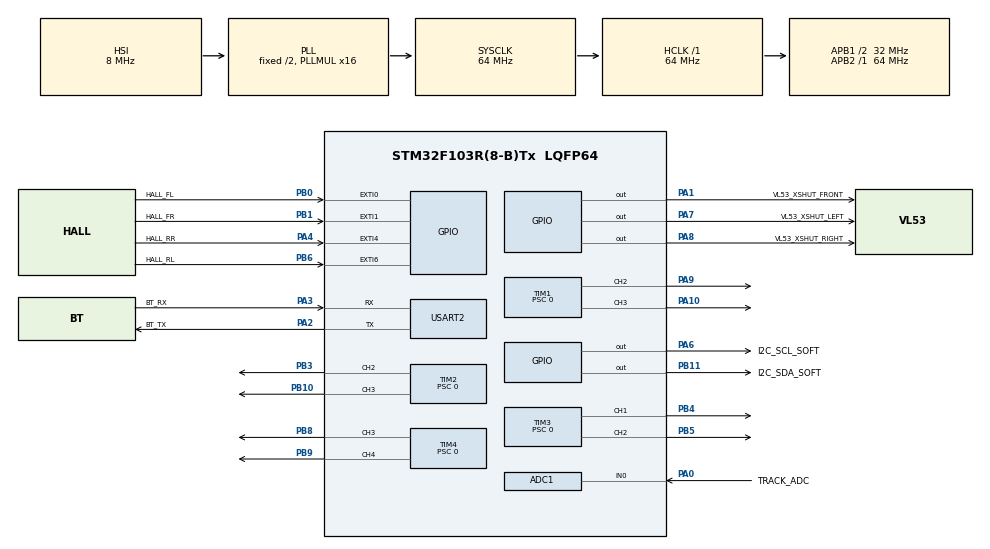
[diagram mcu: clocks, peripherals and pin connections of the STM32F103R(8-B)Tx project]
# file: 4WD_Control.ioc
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ADC1.Channel-0\#ChannelRegularConversion=ADC_CHANNEL_0
ADC1.ContinuousConvMode=DISABLE
ADC1.DataAlign=ADC_DATAALIGN_RIGHT
ADC1.NbrOfConversionFlag=1
ADC1.Rank-0\#ChannelRegularConversion=1
ADC1.SamplingTime-0\#ChannelRegularConversion=ADC_SAMPLETIME_239CYCLES_5
ADC1.master=1
Dma.ADC1.1.Direction=DMA_PERIPH_TO_MEMORY
Dma.ADC1.1.Instance=DMA1_Channel1
Dma.ADC1.1.MemDataAlignment=DMA_MDATAALIGN_HALFWORD
Dma.ADC1.1.MemInc=DMA_MINC_ENABLE
Dma.ADC1.1.Mode=DMA_CIRCULAR
Dma.ADC1.1.PeriphDataAlignment=DMA_PDATAALIGN_HALFWORD
Dma.ADC1.1.PeriphInc=DMA_PINC_DISABLE
Dma.ADC1.1.Priority=DMA_PRIORITY_LOW
Dma.Request0=USART2_RX
Dma.Request1=ADC1
Dma.USART2_RX.0.Direction=DMA_PERIPH_TO_MEMORY
Dma.USART2_RX.0.Instance=DMA1_Channel6
Dma.USART2_RX.0.MemDataAlignment=DMA_MDATAALIGN_BYTE
Dma.USART2_RX.0.MemInc=DMA_MINC_ENABLE
Dma.USART2_RX.0.Mode=DMA_NORMAL
Dma.USART2_RX.0.PeriphDataAlignment=DMA_PDATAALIGN_BYTE
Dma.USART2_RX.0.PeriphInc=DMA_PINC_DISABLE
Dma.USART2_RX.0.Priority=DMA_PRIORITY_LOW
Mcu.Family=STM32F1
Mcu.Name=STM32F103R(8-B)Tx
Mcu.Package=LQFP64
NVIC.DMA1_Channel1_IRQn=true\:0\:0\:false\:false\:true\:false\:true\:true
NVIC.DMA1_Channel6_IRQn=true\:2\:0\:false\:false\:true\:false\:true\:true
NVIC.EXTI0_IRQn=true\:1\:0\:true\:false\:true\:true\:true\:true
NVIC.EXTI1_IRQn=true\:1\:0\:true\:false\:true\:true\:true\:true
NVIC.EXTI4_IRQn=true\:1\:0\:true\:false\:true\:true\:true\:true
NVIC.EXTI9_5_IRQn=true\:1\:0\:true\:false\:true\:true\:true\:true
NVIC.PriorityGroup=NVIC_PRIORITYGROUP_4
PA0-WKUP.GPIO_Label=TRACK_ADC
PA0-WKUP.Signal=ADCx_IN0
PA1.GPIO_Label=VL53_XSHUT_FRONT
PA1.GPIO_ModeDefaultOutputPP=GPIO_MODE_OUTPUT_PP
PA1.Signal=GPIO_Output
PA10.Signal=S_TIM1_CH3
PA13.GPIO_Label=TMS
PA13.Mode=Serial_Wire
PA13.Signal=SYS_JTMS-SWDIO
PA14.GPIO_Label=TCK
PA14.Mode=Serial_Wire
PA14.Signal=SYS_JTCK-SWCLK
PA2.GPIO_Label=BT_TX
PA2.GPIO_Mode=GPIO_MODE_AF_PP
PA2.GPIO_PuPd=GPIO_NOPULL
PA2.GPIO_Speed=GPIO_SPEED_FREQ_LOW
PA2.Mode=Asynchronous
PA2.Signal=USART2_TX
PA3.GPIO_Label=BT_RX
PA3.GPIO_Mode=GPIO_MODE_AF_PP
PA3.GPIO_PuPd=GPIO_NOPULL
PA3.GPIO_Speed=GPIO_SPEED_FREQ_LOW
PA3.Mode=Asynchronous
PA3.Signal=USART2_RX
PA4.GPIO_Label=HALL_RR
PA4.GPIO_ModeDefaultEXTI=GPIO_MODE_IT_RISING
PA4.GPIO_PuPd=GPIO_PULLUP
PA4.Signal=GPXTI4
PA6.GPIO_Label=I2C_SCL_SOFT
PA6.GPIO_ModeDefaultOutputPP=GPIO_MODE_OUTPUT_PP
PA6.Signal=GPIO_Output
PA7.GPIO_Label=VL53_XSHUT_LEFT
PA7.GPIO_ModeDefaultOutputPP=GPIO_MODE_OUTPUT_PP
PA7.Signal=GPIO_Output
PA8.GPIO_Label=VL53_XSHUT_RIGHT
PA8.GPIO_ModeDefaultOutputPP=GPIO_MODE_OUTPUT_PP
PA8.Signal=GPIO_Output
PA9.Signal=S_TIM1_CH2
PB0.GPIO_Label=HALL_FL
PB0.GPIO_ModeDefaultEXTI=GPIO_MODE_IT_RISING
PB0.GPIO_PuPd=GPIO_PULLUP
PB0.Signal=GPXTI0
PB1.GPIO_Label=HALL_FR
PB1.GPIO_ModeDefaultEXTI=GPIO_MODE_IT_RISING
PB1.GPIO_PuPd=GPIO_PULLUP
PB1.Signal=GPXTI1
PB10.Signal=S_TIM2_CH3
PB11.GPIO_Label=I2C_SDA_SOFT
PB11.GPIO_ModeDefaultOutputPP=GPIO_MODE_OUTPUT_PP
PB11.Signal=GPIO_Output
PB6.GPIO_Label=HALL_RL
PB6.GPIO_ModeDefaultEXTI=GPIO_MODE_IT_RISING
PB6.GPIO_PuPd=GPIO_PULLUP
PB6.Signal=GPXTI6
PB3.Signal=S_TIM2_CH2
PB4.Signal=S_TIM3_CH1
PB5.Signal=S_TIM3_CH2
PB8.Signal=S_TIM4_CH3
PB9.Signal=S_TIM4_CH4
ProjectManager.HeapSize=0x200
ProjectManager.StackSize=0x400
ProjectManager.TargetToolchain=CMake
RCC.ADCPresc=RCC_ADCPCLK2_DIV6
RCC.AHBFreq_Value=64000000
RCC.APB1CLKDivider=RCC_HCLK_DIV2
RCC.APB1Freq_Value=32000000
RCC.APB1TimFreq_Value=64000000
RCC.APB2Freq_Value=64000000
RCC.APB2TimFreq_Value=64000000
RCC.HCLKFreq_Value=64000000
RCC.HSE_VALUE=8000000
RCC.HSE_VALUE_FREQ=8000000
RCC.PLLMUL=RCC_PLL_MUL16
RCC.SYSCLKFreq_VALUE=64000000
RCC.SYSCLKSource=RCC_SYSCLKSOURCE_PLLCLK
RCC.USBFreq_Value=64000000
SH.ADCx_IN0.0=ADC1_IN0,IN0
SH.S_TIM1_CH2.0=TIM1_CH2,PWM Generation2 CH2
SH.S_TIM1_CH3.0=TIM1_CH3,PWM Generation3 CH3
SH.S_TIM2_CH2.0=TIM2_CH2,PWM Generation2 CH2
SH.S_TIM2_CH3.0=TIM2_CH3,PWM Generation3 CH3
SH.S_TIM3_CH1.0=TIM3_CH1,PWM Generation1 CH1
SH.S_TIM3_CH2.0=TIM3_CH2,PWM Generation2 CH2
SH.S_TIM4_CH3.0=TIM4_CH3,PWM Generation3 CH3
SH.S_TIM4_CH4.0=TIM4_CH4,PWM Generation4 CH4
TIM1.Channel-PWM\ Generation2\ CH2=TIM_CHANNEL_2
TIM1.Channel-PWM\ Generation3\ CH3=TIM_CHANNEL_3
TIM1.Period=3199
TIM1.Prescaler=0
TIM1.Pulse-PWM\ Generation2\ CH2=0
TIM1.Pulse-PWM\ Generation3\ CH3=0
TIM2.Channel-PWM\ Generation2\ CH2=TIM_CHANNEL_2
TIM2.Channel-PWM\ Generation3\ CH3=TIM_CHANNEL_3
TIM2.Period=3199
TIM2.Prescaler=0
TIM2.Pulse-PWM\ Generation2\ CH2=0
TIM2.Pulse-PWM\ Generation3\ CH3=0
TIM3.Channel-PWM\ Generation1\ CH1=TIM_CHANNEL_1
TIM3.Channel-PWM\ Generation2\ CH2=TIM_CHANNEL_2
TIM3.Period=3199
TIM3.Prescaler=0
TIM3.Pulse-PWM\ Generation1\ CH1=0
TIM3.Pulse-PWM\ Generation2\ CH2=0
TIM4.Channel-PWM\ Generation3\ CH3=TIM_CHANNEL_3
TIM4.Channel-PWM\ Generation4\ CH4=TIM_CHANNEL_4
TIM4.Period=3199
TIM4.Prescaler=0
TIM4.Pulse-PWM\ Generation3\ CH3=0
TIM4.Pulse-PWM\ Generation4\ CH4=0
USART2.VirtualMode=VM_ASYNC
board=custom

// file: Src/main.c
/* USER CODE BEGIN Header */
/**
  ******************************************************************************
  * @file           : main.c
  * @brief          : Main program body
  ******************************************************************************
  * @attention
  *
  * Copyright (c) 2026 STMicroelectronics.
  * All rights reserved.
  *
  * This software is licensed under terms that can be found in the LICENSE file
  * in the root directory of this software component.
  * If no LICENSE file comes with this software, it is provided AS-IS.
  *
  ******************************************************************************
  */
/* USER CODE END Header */
#include "main.h"

/* USER CODE BEGIN Includes */
#include "motor.h"
#include "encoder.h"
#include "fsm.h"
#include "hc06.h"
#include "lcd.h"
#include "mpu6050.h"
#include "soft_i2c.h"
#include "kalman.h"
#include "line_sensor.h"
#include "paramstore.h"
#include "pid.h"
#include "vl53l1x.h"

#include <math.h>
#include <stdio.h>

#define STAT_GYRO_THRESH  1.0f
#define STAT_WINDOW       200U
#define SPEED_PERIOD_MS   10U
#define TOF_PERIOD_MS     50U
#define STREAM_PERIOD_MS  50U
#define LCD_PERIOD_MS     200U
#define MOTOR_TEST_ON_BOOT 0U
#define MOTOR_TEST_DUTY   2000
#define MOTOR_TEST_MS     1000U
#define MOTOR_TEST_GAP_MS 500U
#define MOTOR_SWEEP_ON_BOOT 0U
#define MOTOR_SWEEP_MIN_DUTY 800
#define MOTOR_SWEEP_MAX_DUTY 3199
#define MOTOR_SWEEP_STEP  200
#define MOTOR_SWEEP_HOLD_MS 1500U
#define MOTOR_SWEEP_GAP_MS 500U
#define SPEED_DUTY_MAX    3199.0f
#define SPEED_TRIM_MAX_DUTY 800.0f
/* PLACEHOLDER speed-PID gains; USER must tune to hardware. */
#define SPEED_KP          5.0f
#define SPEED_KI          0.0f
#define SPEED_KD          0.0f

#if (MOTOR_TEST_ON_BOOT != 0U) && (MOTOR_SWEEP_ON_BOOT != 0U)
#error "MOTOR_TEST_ON_BOOT and MOTOR_SWEEP_ON_BOOT are mutually exclusive."
#endif

/* USER CODE END Includes */

ADC_HandleTypeDef hadc1;
DMA_HandleTypeDef hdma_adc1;

TIM_HandleTypeDef htim1;
TIM_HandleTypeDef htim2;
TIM_HandleTypeDef htim3;
TIM_HandleTypeDef htim4;

UART_HandleTypeDef huart2;
DMA_HandleTypeDef hdma_usart2_rx;

/* USER CODE BEGIN PV */
volatile uint8_t g_param_save_request = 0U;
static PID pid_speed[MOTOR_COUNT];
/* duty/RPM feedforward coefficients measured via MOTOR_SWEEP_ON_BOOT (order: LF, RF, LR, RR). */
static const float speed_ff_gain[MOTOR_COUNT] = {20.21f, 16.41f, 14.58f, 15.00f};
static const float speed_ff_offset[MOTOR_COUNT] = {988.10f, 1308.95f, 1393.90f, 1353.18f};
/* USER CODE END PV */

void SystemClock_Config(void);
static void MX_GPIO_Init(void);
static void MX_DMA_Init(void);
static void MX_ADC1_Init(void);
static void MX_USART2_UART_Init(void);
static void MX_TIM1_Init(void);
static void MX_TIM2_Init(void);
static void MX_TIM3_Init(void);
static void MX_TIM4_Init(void);
/* USER CODE BEGIN PFP */
static uint8_t Hall_ReadLevel(MotorId wheel);
static void MotorTest_Run(void);
static void MotorSweep_Run(void);
static const char *MotorTest_Name(MotorId wheel);
static int16_t SpeedFF_Duty(MotorId wheel, float setpoint_rpm);

/* USER CODE END PFP */

int main(void)
{

  /* MCU Configuration--------------------------------------------------------*/

  /* Reset of all peripherals, Initializes the Flash interface and the Systick. */
  HAL_Init();

  /* Configure the system clock */
  SystemClock_Config();

  /* Initialize all configured peripherals */
  MX_GPIO_Init();
  MX_DMA_Init();
  MX_ADC1_Init();
  MX_USART2_UART_Init();
  MX_TIM1_Init();
  MX_TIM2_Init();
  MX_TIM3_Init();
  MX_TIM4_Init();
  /* USER CODE BEGIN 2 */
  uint32_t last_tick;
  uint32_t last_speed_tick;
  uint32_t last_tof_tick;
  uint32_t last_stream_tick;
  uint32_t last_lcd_tick;
  uint32_t stat_count;
  float stat_sum;
  float stat_sumsq;
  float stored_r;
  float stored_bias;
  float yaw;
  float line_error;
  uint8_t line_ok;
  uint8_t mpu_ok;
  uint8_t tof_ok;

  Motor_Init();
  Encoder_Init();
  FSM_Init();
  HC06_Init();
  SoftI2C_Init();
  tof_ok = (TOF_Init_All() == 0U) ? 1U : 0U;
  if (tof_ok != 0U)
  {
    HAL_UART_Transmit(&huart2, (uint8_t *)"TOF OK\r\n", 8U, HAL_MAX_DELAY);
  }
  else
  {
    HAL_UART_Transmit(&huart2, (uint8_t *)"TOF FAIL\r\n", 10U, HAL_MAX_DELAY);
  }
  line_ok = (LineSensor_Init((const LineSensorConfig *)0) == HAL_OK) ? 1U : 0U;

  if (MPU6050_Init() == 0U)
  {
    mpu_ok = 1U;
    HAL_UART_Transmit(&huart2, (uint8_t *)"MPU OK\r\n", 8U, HAL_MAX_DELAY);
  }
  else
  {
    mpu_ok = 0U;
    HAL_UART_Transmit(&huart2, (uint8_t *)"MPU FAIL\r\n", 10U, HAL_MAX_DELAY);
  }

  Kalman_Init();
  yaw = 0.0f;
  line_error = 0.0f;
  if (ParamStore_Load(&stored_r, &stored_bias) != 0U)
  {
    Kalman_SetR(stored_r);
    Kalman_SetBias(stored_bias);
    HAL_UART_Transmit(&huart2, (uint8_t *)"PARAM LOADED\r\n", 14U, HAL_MAX_DELAY);
  }
  else
  {
    HAL_UART_Transmit(&huart2, (uint8_t *)"PARAM DEFAULT\r\n", 15U, HAL_MAX_DELAY);
  }

  for (MotorId w = MOTOR_LF; w < MOTOR_COUNT; w++)
  {
    PID_Init(&pid_speed[w], SPEED_KP, SPEED_KI, SPEED_KD,
             -SPEED_TRIM_MAX_DUTY, SPEED_TRIM_MAX_DUTY);
  }

  stat_count = 0U;
  stat_sum = 0.0f;
  stat_sumsq = 0.0f;
  LCD_Init();
  LCD_Update(FSM_GetStateName(), yaw, mpu_ok);
  last_tick = HAL_GetTick();
  last_speed_tick = last_tick;
  last_tof_tick = last_tick;
  last_stream_tick = last_tick;
  last_lcd_tick = last_tick;
  if (MOTOR_SWEEP_ON_BOOT != 0U)
  {
    MotorSweep_Run();
  }
  else if (MOTOR_TEST_ON_BOOT != 0U)
  {
    MotorTest_Run();
  }
  else
  {
    Motor_StopAll();
  }

  /* USER CODE END 2 */

  /* Infinite loop */
  while (1)
  {

    /* USER CODE BEGIN 3 */
    uint32_t now;
    float dt;
    float omega_dps = 0.0f;
    float accel_angle;
    uint8_t sample_ok;

    HC06_Process();

    if (g_param_save_request != 0U)
    {
      uint8_t save_ok;

      g_param_save_request = 0U;
      save_ok = ParamStore_Save(Kalman_GetR(), Kalman_GetBias());
      if (save_ok != 0U)
      {
        HAL_UART_Transmit(&huart2, (uint8_t *)"SAVED\r\n", 7U, HAL_MAX_DELAY);
      }
      else
      {
        HAL_UART_Transmit(&huart2, (uint8_t *)"SAVE_FAIL\r\n", 11U, HAL_MAX_DELAY);
      }
    }

    now = HAL_GetTick();
    dt = (float)(now - last_tick) / 1000.0f;
    if (dt <= 0.0f)
    {
      continue;
    }
    last_tick = now;

    if ((now - last_speed_tick) >= SPEED_PERIOD_MS)
    {
      float speed_dt;
      MotorId w;

      speed_dt = (float)(now - last_speed_tick) / 1000.0f;
      Encoder_Sample(speed_dt);
      for (w = MOTOR_LF; w < MOTOR_COUNT; w++)
      {
        float duty;
        float measured;
        float trim;
        float setpoint;
        uint32_t primask;
        uint8_t output_valid;

        duty = 0.0f;
        setpoint = 0.0f;
        output_valid = 0U;
        if (FSM_IsMotionEnabled() != 0U)
        {
          setpoint = FSM_GetSpeedSetpoint(w);
          measured = Encoder_GetSpeed(w);
          if (setpoint < 0.0f)
          {
            measured = -measured;
          }
          trim = PID_Update(&pid_speed[w], setpoint, measured, speed_dt);
          duty = (float)SpeedFF_Duty(w, setpoint) + trim;
          output_valid = 1U;
        }
        else
        {
          PID_Reset(&pid_speed[w]);
          trim = 0.0f;
        }

        primask = __get_PRIMASK();
        __disable_irq();
        if (FSM_IsEmergency() != 0U)
        {
          PID_Reset(&pid_speed[w]);
          Motor_StopAll();
        }
        else if ((output_valid == 0U) || (FSM_IsMotionEnabled() == 0U)
                 || (FSM_GetSpeedSetpoint(w) != setpoint))
        {
          PID_Reset(&pid_speed[w]);
          Motor_SetDuty(w, 0);
        }
        else
        {
          Motor_SetDuty(w, (int16_t)duty);
        }
        if (primask == 0U)
        {
          __enable_irq();
        }
      }
      last_speed_tick = now;
    }

    sample_ok = (MPU6050_Read(&omega_dps, &accel_angle) == 0U) ? 1U : 0U;
    if (sample_ok != 0U)
    {
      mpu_ok = 1U;
      yaw = Kalman_Update(accel_angle, omega_dps, dt);

      if (fabsf(omega_dps) < STAT_GYRO_THRESH)
      {
        stat_count++;
        stat_sum += accel_angle;
        stat_sumsq += accel_angle * accel_angle;

        if (stat_count >= STAT_WINDOW)
        {
          float variance;

          /* R is Var(accel_angle) in deg^2 when the gyro indicates the robot is at rest. */
          variance = (stat_sumsq - ((stat_sum * stat_sum) / (float)STAT_WINDOW))
                     / ((float)STAT_WINDOW - 1.0f);
          if (variance < 1e-6f)
          {
            variance = 1e-6f;
          }
          Kalman_SetR(variance);

          stat_count = 0U;
          stat_sum = 0.0f;
          stat_sumsq = 0.0f;
        }
      }
      else
      {
        stat_count = 0U;
        stat_sum = 0.0f;
        stat_sumsq = 0.0f;
      }
    }
    else
    {
      mpu_ok = 0U;
      stat_count = 0U;
      stat_sum = 0.0f;
      stat_sumsq = 0.0f;
    }

    {
      LineSensorSample line_sample;

      line_sample = LineSensor_Read();
      line_error = line_sample.error;
      line_ok = line_sample.active;
    }

    if ((tof_ok != 0U) && ((now - last_tof_tick) >= TOF_PERIOD_MS))
    {
      if (TOF_UpdateAll() == 0U)
      {
        FSM_SetObstacle(TOF_IsObstacle());
      }
      last_tof_tick = now;
    }
    FSM_Dispatch(yaw, omega_dps, dt, line_error, line_ok);

    if ((now - last_stream_tick) >= STREAM_PERIOD_MS)
    {
      char buffer[32];
      char spdbuf[160];
      char tofbuf[160];
      int length;
      int speed_length;
      int tof_length;
      int32_t yaw_centi;
      long setpoint_drpm[MOTOR_COUNT];
      long measured_drpm[MOTOR_COUNT];
      unsigned long counts[MOTOR_COUNT];
      MotorId wheel;

      yaw_centi = (int32_t)(yaw * 100.0f);
      length = snprintf(buffer, sizeof(buffer), "YAW=%ld\r\n", (long)yaw_centi);
      if (length > 0)
      {
        HAL_UART_Transmit(&huart2, (uint8_t *)buffer, (uint16_t)length, HAL_MAX_DELAY);
      }
      for (wheel = MOTOR_LF; wheel < MOTOR_COUNT; wheel++)
      {
        setpoint_drpm[wheel] = (long)(FSM_GetSpeedSetpoint(wheel) * 10.0f);
        measured_drpm[wheel] = (long)(Encoder_GetSpeed(wheel) * 10.0f);
        counts[wheel] = (unsigned long)Encoder_GetCount(wheel);
      }
      speed_length = snprintf(spdbuf, sizeof(spdbuf),
                              "SPD=%ld,%ld,%ld,%ld,%ld,%ld,%ld,%ld;CNT=%lu,%lu,%lu,%lu;HALL=%u,%u,%u,%u\r\n",
                              setpoint_drpm[MOTOR_LF], measured_drpm[MOTOR_LF],
                              setpoint_drpm[MOTOR_RF], measured_drpm[MOTOR_RF],
                              setpoint_drpm[MOTOR_LR], measured_drpm[MOTOR_LR],
                              setpoint_drpm[MOTOR_RR], measured_drpm[MOTOR_RR],
                              counts[MOTOR_LF], counts[MOTOR_RF],
                              counts[MOTOR_LR], counts[MOTOR_RR],
                              (unsigned int)Hall_ReadLevel(MOTOR_LF),
                              (unsigned int)Hall_ReadLevel(MOTOR_RF),
                              (unsigned int)Hall_ReadLevel(MOTOR_LR),
                              (unsigned int)Hall_ReadLevel(MOTOR_RR));
      if (speed_length > 0)
      {
        HAL_UART_Transmit(&huart2, (uint8_t *)spdbuf, (uint16_t)speed_length, HAL_MAX_DELAY);
      }
      if (tof_ok != 0U)
      {
        TOF_Sample tof_front;
        TOF_Sample tof_left;
        TOF_Sample tof_right;
        uint8_t tof_ack_default;
        uint8_t tof_ack_front;
        uint8_t tof_ack_left;
        uint8_t tof_ack_right;

        tof_front = TOF_GetSample(TOF_FRONT);
        tof_left = TOF_GetSample(TOF_LEFT);
        tof_right = TOF_GetSample(TOF_RIGHT);
        tof_ack_default = (SoftI2C_IsDeviceReady(0x52U) == 0U) ? 1U : 0U;
        tof_ack_front = (SoftI2C_IsDeviceReady(0x54U) == 0U) ? 1U : 0U;
        tof_ack_left = (SoftI2C_IsDeviceReady(0x56U) == 0U) ? 1U : 0U;
        tof_ack_right = (SoftI2C_IsDeviceReady(0x58U) == 0U) ? 1U : 0U;
        tof_length = snprintf(tofbuf, sizeof(tofbuf),
                              "TOF=%u,%u,%u;OBS=%u;RDY=%u,%u,%u;PRES=%u,%u,%u;STAT=%u,%u,%u;RAW=%u,%u,%u;ACK=%u,%u,%u,%u\r\n",
                              (unsigned int)tof_front.distance_mm,
                              (unsigned int)tof_left.distance_mm,
                              (unsigned int)tof_right.distance_mm,
                              (unsigned int)TOF_IsObstacle(),
                              (unsigned int)tof_front.ready,
                              (unsigned int)tof_left.ready,
                              (unsigned int)tof_right.ready,
                              (unsigned int)tof_front.present,
                              (unsigned int)tof_left.present,
                              (unsigned int)tof_right.present,
                              (unsigned int)tof_front.range_status,
                              (unsigned int)tof_left.range_status,
                              (unsigned int)tof_right.range_status,
                              (unsigned int)tof_front.raw_distance_mm,
                              (unsigned int)tof_left.raw_distance_mm,
                              (unsigned int)tof_right.raw_distance_mm,
                              (unsigned int)tof_ack_default,
                              (unsigned int)tof_ack_front,
                              (unsigned int)tof_ack_left,
                              (unsigned int)tof_ack_right);
        if (tof_length > 0)
        {
          HAL_UART_Transmit(&huart2, (uint8_t *)tofbuf, (uint16_t)tof_length, HAL_MAX_DELAY);
        }
      }
      last_stream_tick = now;
    }

    if ((now - last_lcd_tick) >= LCD_PERIOD_MS)
    {
      LCD_Update(FSM_GetStateName(), yaw, mpu_ok);
      last_lcd_tick = now;
    }
  }
  /* USER CODE END 3 */
}

void SystemClock_Config(void)
{
  RCC_OscInitTypeDef RCC_OscInitStruct = {0};
  RCC_ClkInitTypeDef RCC_ClkInitStruct = {0};
  RCC_PeriphCLKInitTypeDef PeriphClkInit = {0};

  /** Initializes the RCC Oscillators according to the specified parameters
  * in the RCC_OscInitTypeDef structure.
  */
  RCC_OscInitStruct.OscillatorType = RCC_OSCILLATORTYPE_HSI;
  RCC_OscInitStruct.HSIState = RCC_HSI_ON;
  RCC_OscInitStruct.HSICalibrationValue = RCC_HSICALIBRATION_DEFAULT;
  RCC_OscInitStruct.PLL.PLLState = RCC_PLL_ON;
  RCC_OscInitStruct.PLL.PLLSource = RCC_PLLSOURCE_HSI_DIV2;
  RCC_OscInitStruct.PLL.PLLMUL = RCC_PLL_MUL16;
  if (HAL_RCC_OscConfig(&RCC_OscInitStruct) != HAL_OK)
  {
    Error_Handler();
  }

  /** Initializes the CPU, AHB and APB buses clocks
  */
  RCC_ClkInitStruct.ClockType = RCC_CLOCKTYPE_HCLK|RCC_CLOCKTYPE_SYSCLK
                              |RCC_CLOCKTYPE_PCLK1|RCC_CLOCKTYPE_PCLK2;
  RCC_ClkInitStruct.SYSCLKSource = RCC_SYSCLKSOURCE_PLLCLK;
  RCC_ClkInitStruct.AHBCLKDivider = RCC_SYSCLK_DIV1;
  RCC_ClkInitStruct.APB1CLKDivider = RCC_HCLK_DIV2;
  RCC_ClkInitStruct.APB2CLKDivider = RCC_HCLK_DIV1;

  if (HAL_RCC_ClockConfig(&RCC_ClkInitStruct, FLASH_LATENCY_2) != HAL_OK)
  {
    Error_Handler();
  }
  PeriphClkInit.PeriphClockSelection = RCC_PERIPHCLK_ADC;
  PeriphClkInit.AdcClockSelection = RCC_ADCPCLK2_DIV6;
  if (HAL_RCCEx_PeriphCLKConfig(&PeriphClkInit) != HAL_OK)
  {
    Error_Handler();
  }
}

static void MX_ADC1_Init(void)
{

  ADC_ChannelConfTypeDef sConfig = {0};

  /** Common config
  */
  hadc1.Instance = ADC1;
  hadc1.Init.ScanConvMode = ADC_SCAN_DISABLE;
  hadc1.Init.ContinuousConvMode = ENABLE;
  hadc1.Init.DiscontinuousConvMode = DISABLE;
  hadc1.Init.ExternalTrigConv = ADC_SOFTWARE_START;
  hadc1.Init.DataAlign = ADC_DATAALIGN_RIGHT;
  hadc1.Init.NbrOfConversion = 1;
  if (HAL_ADC_Init(&hadc1) != HAL_OK)
  {
    Error_Handler();
  }

  /** Configure Regular Channel
  */
  sConfig.Channel = ADC_CHANNEL_0;
  sConfig.Rank = ADC_REGULAR_RANK_1;
  sConfig.SamplingTime = ADC_SAMPLETIME_239CYCLES_5;
  if (HAL_ADC_ConfigChannel(&hadc1, &sConfig) != HAL_OK)
  {
    Error_Handler();
  }

}

static void MX_TIM1_Init(void)
{

  TIM_MasterConfigTypeDef sMasterConfig = {0};
  TIM_OC_InitTypeDef sConfigOC = {0};
  TIM_BreakDeadTimeConfigTypeDef sBreakDeadTimeConfig = {0};

  htim1.Instance = TIM1;
  htim1.Init.Prescaler = 0;
  htim1.Init.CounterMode = TIM_COUNTERMODE_UP;
  htim1.Init.Period = 3199;
  htim1.Init.ClockDivision = TIM_CLOCKDIVISION_DIV1;
  htim1.Init.RepetitionCounter = 0;
  htim1.Init.AutoReloadPreload = TIM_AUTORELOAD_PRELOAD_DISABLE;
  if (HAL_TIM_PWM_Init(&htim1) != HAL_OK)
  {
    Error_Handler();
  }
  sMasterConfig.MasterOutputTrigger = TIM_TRGO_RESET;
  sMasterConfig.MasterSlaveMode = TIM_MASTERSLAVEMODE_DISABLE;
  if (HAL_TIMEx_MasterConfigSynchronization(&htim1, &sMasterConfig) != HAL_OK)
  {
    Error_Handler();
  }
  sConfigOC.OCMode = TIM_OCMODE_PWM1;
  sConfigOC.Pulse = 0;
  sConfigOC.OCPolarity = TIM_OCPOLARITY_HIGH;
  sConfigOC.OCNPolarity = TIM_OCNPOLARITY_HIGH;
  sConfigOC.OCFastMode = TIM_OCFAST_DISABLE;
  sConfigOC.OCIdleState = TIM_OCIDLESTATE_RESET;
  sConfigOC.OCNIdleState = TIM_OCNIDLESTATE_RESET;
  if (HAL_TIM_PWM_ConfigChannel(&htim1, &sConfigOC, TIM_CHANNEL_2) != HAL_OK)
  {
    Error_Handler();
  }
  if (HAL_TIM_PWM_ConfigChannel(&htim1, &sConfigOC, TIM_CHANNEL_3) != HAL_OK)
  {
    Error_Handler();
  }
  sBreakDeadTimeConfig.OffStateRunMode = TIM_OSSR_DISABLE;
  sBreakDeadTimeConfig.OffStateIDLEMode = TIM_OSSI_DISABLE;
  sBreakDeadTimeConfig.LockLevel = TIM_LOCKLEVEL_OFF;
  sBreakDeadTimeConfig.DeadTime = 0;
  sBreakDeadTimeConfig.BreakState = TIM_BREAK_DISABLE;
  sBreakDeadTimeConfig.BreakPolarity = TIM_BREAKPOLARITY_HIGH;
  sBreakDeadTimeConfig.AutomaticOutput = TIM_AUTOMATICOUTPUT_DISABLE;
  if (HAL_TIMEx_ConfigBreakDeadTime(&htim1, &sBreakDeadTimeConfig) != HAL_OK)
  {
    Error_Handler();
  }
  HAL_TIM_MspPostInit(&htim1);

}

static void MX_TIM2_Init(void)
{

  TIM_MasterConfigTypeDef sMasterConfig = {0};
  TIM_OC_InitTypeDef sConfigOC = {0};

  htim2.Instance = TIM2;
  htim2.Init.Prescaler = 0;
  htim2.Init.CounterMode = TIM_COUNTERMODE_UP;
  htim2.Init.Period = 3199;
  htim2.Init.ClockDivision = TIM_CLOCKDIVISION_DIV1;
  htim2.Init.AutoReloadPreload = TIM_AUTORELOAD_PRELOAD_DISABLE;
  if (HAL_TIM_PWM_Init(&htim2) != HAL_OK)
  {
    Error_Handler();
  }
  sMasterConfig.MasterOutputTrigger = TIM_TRGO_RESET;
  sMasterConfig.MasterSlaveMode = TIM_MASTERSLAVEMODE_DISABLE;
  if (HAL_TIMEx_MasterConfigSynchronization(&htim2, &sMasterConfig) != HAL_OK)
  {
    Error_Handler();
  }
  sConfigOC.OCMode = TIM_OCMODE_PWM1;
  sConfigOC.Pulse = 0;
  sConfigOC.OCPolarity = TIM_OCPOLARITY_HIGH;
  sConfigOC.OCFastMode = TIM_OCFAST_DISABLE;
  if (HAL_TIM_PWM_ConfigChannel(&htim2, &sConfigOC, TIM_CHANNEL_2) != HAL_OK)
  {
    Error_Handler();
  }
  if (HAL_TIM_PWM_ConfigChannel(&htim2, &sConfigOC, TIM_CHANNEL_3) != HAL_OK)
  {
    Error_Handler();
  }
  HAL_TIM_MspPostInit(&htim2);

}

static void MX_TIM3_Init(void)
{

  TIM_MasterConfigTypeDef sMasterConfig = {0};
  TIM_OC_InitTypeDef sConfigOC = {0};

  htim3.Instance = TIM3;
  htim3.Init.Prescaler = 0;
  htim3.Init.CounterMode = TIM_COUNTERMODE_UP;
  htim3.Init.Period = 3199;
  htim3.Init.ClockDivision = TIM_CLOCKDIVISION_DIV1;
  htim3.Init.AutoReloadPreload = TIM_AUTORELOAD_PRELOAD_DISABLE;
  if (HAL_TIM_PWM_Init(&htim3) != HAL_OK)
  {
    Error_Handler();
  }
  sMasterConfig.MasterOutputTrigger = TIM_TRGO_RESET;
  sMasterConfig.MasterSlaveMode = TIM_MASTERSLAVEMODE_DISABLE;
  if (HAL_TIMEx_MasterConfigSynchronization(&htim3, &sMasterConfig) != HAL_OK)
  {
    Error_Handler();
  }
  sConfigOC.OCMode = TIM_OCMODE_PWM1;
  sConfigOC.Pulse = 0;
  sConfigOC.OCPolarity = TIM_OCPOLARITY_HIGH;
  sConfigOC.OCFastMode = TIM_OCFAST_DISABLE;
  if (HAL_TIM_PWM_ConfigChannel(&htim3, &sConfigOC, TIM_CHANNEL_1) != HAL_OK)
  {
    Error_Handler();
  }
  if (HAL_TIM_PWM_ConfigChannel(&htim3, &sConfigOC, TIM_CHANNEL_2) != HAL_OK)
  {
    Error_Handler();
  }
  HAL_TIM_MspPostInit(&htim3);

}

static void MX_TIM4_Init(void)
{

  TIM_MasterConfigTypeDef sMasterConfig = {0};
  TIM_OC_InitTypeDef sConfigOC = {0};

  htim4.Instance = TIM4;
  htim4.Init.Prescaler = 0;
  htim4.Init.CounterMode = TIM_COUNTERMODE_UP;
  htim4.Init.Period = 3199;
  htim4.Init.ClockDivision = TIM_CLOCKDIVISION_DIV1;
  htim4.Init.AutoReloadPreload = TIM_AUTORELOAD_PRELOAD_DISABLE;
  if (HAL_TIM_PWM_Init(&htim4) != HAL_OK)
  {
    Error_Handler();
  }
  sMasterConfig.MasterOutputTrigger = TIM_TRGO_RESET;
  sMasterConfig.MasterSlaveMode = TIM_MASTERSLAVEMODE_DISABLE;
  if (HAL_TIMEx_MasterConfigSynchronization(&htim4, &sMasterConfig) != HAL_OK)
  {
    Error_Handler();
  }
  sConfigOC.OCMode = TIM_OCMODE_PWM1;
  sConfigOC.Pulse = 0;
  sConfigOC.OCPolarity = TIM_OCPOLARITY_HIGH;
  sConfigOC.OCFastMode = TIM_OCFAST_DISABLE;
  if (HAL_TIM_PWM_ConfigChannel(&htim4, &sConfigOC, TIM_CHANNEL_3) != HAL_OK)
  {
    Error_Handler();
  }
  if (HAL_TIM_PWM_ConfigChannel(&htim4, &sConfigOC, TIM_CHANNEL_4) != HAL_OK)
  {
    Error_Handler();
  }
  HAL_TIM_MspPostInit(&htim4);

}

static void MX_USART2_UART_Init(void)
{

  huart2.Instance = USART2;
  huart2.Init.BaudRate = 115200;
  huart2.Init.WordLength = UART_WORDLENGTH_8B;
  huart2.Init.StopBits = UART_STOPBITS_1;
  huart2.Init.Parity = UART_PARITY_NONE;
  huart2.Init.Mode = UART_MODE_TX_RX;
  huart2.Init.HwFlowCtl = UART_HWCONTROL_NONE;
  huart2.Init.OverSampling = UART_OVERSAMPLING_16;
  if (HAL_UART_Init(&huart2) != HAL_OK)
  {
    Error_Handler();
  }

}

static void MX_DMA_Init(void)
{

  /* DMA controller clock enable */
  __HAL_RCC_DMA1_CLK_ENABLE();

  /* DMA interrupt init */
  /* DMA1_Channel1_IRQn interrupt configuration */
  HAL_NVIC_SetPriority(DMA1_Channel1_IRQn, 0, 0);
  HAL_NVIC_EnableIRQ(DMA1_Channel1_IRQn);
  /* DMA1_Channel6_IRQn interrupt configuration */
  HAL_NVIC_SetPriority(DMA1_Channel6_IRQn, 2, 0);
  HAL_NVIC_EnableIRQ(DMA1_Channel6_IRQn);

}

static void MX_GPIO_Init(void)
{
  LL_EXTI_InitTypeDef EXTI_InitStruct = {0};
  LL_GPIO_InitTypeDef GPIO_InitStruct = {0};

  /* GPIO Ports Clock Enable */
  LL_APB2_GRP1_EnableClock(LL_APB2_GRP1_PERIPH_GPIOA);
  LL_APB2_GRP1_EnableClock(LL_APB2_GRP1_PERIPH_GPIOB);

  /**/
  LL_GPIO_ResetOutputPin(GPIOA, VL53_XSHUT_FRONT_Pin|VL53_XSHUT_LEFT_Pin|VL53_XSHUT_RIGHT_Pin);

  /**/
  GPIO_InitStruct.Pin = VL53_XSHUT_FRONT_Pin|VL53_XSHUT_LEFT_Pin|VL53_XSHUT_RIGHT_Pin;
  GPIO_InitStruct.Mode = LL_GPIO_MODE_OUTPUT;
  GPIO_InitStruct.Speed = LL_GPIO_SPEED_FREQ_LOW;
  GPIO_InitStruct.OutputType = LL_GPIO_OUTPUT_PUSHPULL;
  LL_GPIO_Init(GPIOA, &GPIO_InitStruct);

  /**/
  LL_GPIO_AF_SetEXTISource(LL_GPIO_AF_EXTI_PORTA, LL_GPIO_AF_EXTI_LINE4);

  /**/
  LL_GPIO_AF_SetEXTISource(LL_GPIO_AF_EXTI_PORTB, LL_GPIO_AF_EXTI_LINE6);

  /**/
  LL_GPIO_AF_SetEXTISource(LL_GPIO_AF_EXTI_PORTB, LL_GPIO_AF_EXTI_LINE0);

  /**/
  LL_GPIO_AF_SetEXTISource(LL_GPIO_AF_EXTI_PORTB, LL_GPIO_AF_EXTI_LINE1);

  /**/
  EXTI_InitStruct.Line_0_31 = LL_EXTI_LINE_4;
  EXTI_InitStruct.LineCommand = ENABLE;
  EXTI_InitStruct.Mode = LL_EXTI_MODE_IT;
  EXTI_InitStruct.Trigger = LL_EXTI_TRIGGER_RISING;
  LL_EXTI_Init(&EXTI_InitStruct);

  /**/
  EXTI_InitStruct.Line_0_31 = LL_EXTI_LINE_6;
  EXTI_InitStruct.LineCommand = ENABLE;
  EXTI_InitStruct.Mode = LL_EXTI_MODE_IT;
  EXTI_InitStruct.Trigger = LL_EXTI_TRIGGER_RISING;
  LL_EXTI_Init(&EXTI_InitStruct);

  /**/
  EXTI_InitStruct.Line_0_31 = LL_EXTI_LINE_0;
  EXTI_InitStruct.LineCommand = ENABLE;
  EXTI_InitStruct.Mode = LL_EXTI_MODE_IT;
  EXTI_InitStruct.Trigger = LL_EXTI_TRIGGER_RISING;
  LL_EXTI_Init(&EXTI_InitStruct);

  /**/
  EXTI_InitStruct.Line_0_31 = LL_EXTI_LINE_1;
  EXTI_InitStruct.LineCommand = ENABLE;
  EXTI_InitStruct.Mode = LL_EXTI_MODE_IT;
  EXTI_InitStruct.Trigger = LL_EXTI_TRIGGER_RISING;
  LL_EXTI_Init(&EXTI_InitStruct);

  /**/
  LL_GPIO_SetPinPull(HALL_RR_GPIO_Port, HALL_RR_Pin, LL_GPIO_PULL_UP);

  /**/
  LL_GPIO_SetPinPull(HALL_FL_GPIO_Port, HALL_FL_Pin, LL_GPIO_PULL_UP);

  /**/
  LL_GPIO_SetPinPull(HALL_FR_GPIO_Port, HALL_FR_Pin, LL_GPIO_PULL_UP);

  /**/
  LL_GPIO_SetPinPull(HALL_RL_GPIO_Port, HALL_RL_Pin, LL_GPIO_PULL_UP);

  /**/
  LL_GPIO_SetPinMode(HALL_RR_GPIO_Port, HALL_RR_Pin, LL_GPIO_MODE_INPUT);

  /**/
  LL_GPIO_SetPinMode(HALL_FL_GPIO_Port, HALL_FL_Pin, LL_GPIO_MODE_INPUT);

  /**/
  LL_GPIO_SetPinMode(HALL_FR_GPIO_Port, HALL_FR_Pin, LL_GPIO_MODE_INPUT);

  /**/
  LL_GPIO_SetPinMode(HALL_RL_GPIO_Port, HALL_RL_Pin, LL_GPIO_MODE_INPUT);

  /* EXTI interrupt init*/
  NVIC_SetPriority(EXTI0_IRQn, NVIC_EncodePriority(NVIC_GetPriorityGrouping(),1, 0));
  NVIC_EnableIRQ(EXTI0_IRQn);
  NVIC_SetPriority(EXTI1_IRQn, NVIC_EncodePriority(NVIC_GetPriorityGrouping(),1, 0));
  NVIC_EnableIRQ(EXTI1_IRQn);
  /* EXTI2_IRQn removed: HALL_RL moved from PB2 to PB6 (EXTI9_5 below) */
  NVIC_SetPriority(EXTI4_IRQn, NVIC_EncodePriority(NVIC_GetPriorityGrouping(),1, 0));
  NVIC_EnableIRQ(EXTI4_IRQn);
  NVIC_SetPriority(EXTI9_5_IRQn, NVIC_EncodePriority(NVIC_GetPriorityGrouping(),1, 0));
  NVIC_EnableIRQ(EXTI9_5_IRQn);

}

/* USER CODE BEGIN 4 */
static const char *MotorTest_Name(MotorId wheel)
{
  switch (wheel)
  {
    case MOTOR_LF:
      return "LF";

    case MOTOR_RF:
      return "RF";

    case MOTOR_LR:
      return "LR";

    case MOTOR_RR:
      return "RR";

    case MOTOR_COUNT:
    default:
      return "INVALID";
  }
}

static int16_t SpeedFF_Duty(MotorId wheel, float setpoint_rpm)
{
  float magnitude;

  if ((wheel >= MOTOR_COUNT) || (setpoint_rpm == 0.0f))
  {
    return 0;
  }

  magnitude = speed_ff_offset[wheel] + (speed_ff_gain[wheel] * fabsf(setpoint_rpm));
  if (magnitude > SPEED_DUTY_MAX)
  {
    magnitude = SPEED_DUTY_MAX;
  }

  if (setpoint_rpm < 0.0f)
  {
    return (int16_t)(-magnitude);
  }

  return (int16_t)magnitude;
}

static void MotorTest_Print(const char *phase, MotorId wheel)
{
  char buffer[128];
  int length;

  length = snprintf(buffer, sizeof(buffer),
                    "TEST=%s,%s;CNT=%lu,%lu,%lu,%lu;HALL=%u,%u,%u,%u\r\n",
                    phase, MotorTest_Name(wheel),
                    (unsigned long)Encoder_GetCount(MOTOR_LF),
                    (unsigned long)Encoder_GetCount(MOTOR_RF),
                    (unsigned long)Encoder_GetCount(MOTOR_LR),
                    (unsigned long)Encoder_GetCount(MOTOR_RR),
                    (unsigned int)Hall_ReadLevel(MOTOR_LF),
                    (unsigned int)Hall_ReadLevel(MOTOR_RF),
                    (unsigned int)Hall_ReadLevel(MOTOR_LR),
                    (unsigned int)Hall_ReadLevel(MOTOR_RR));
  if (length > 0)
  {
    HAL_UART_Transmit(&huart2, (uint8_t *)buffer, (uint16_t)length, HAL_MAX_DELAY);
  }
}

static void MotorTest_Run(void)
{
  MotorId wheel;

  HAL_UART_Transmit(&huart2, (uint8_t *)"MOTOR TEST BEGIN\r\n", 18U, HAL_MAX_DELAY);
  Motor_StopAll();
  HAL_Delay(MOTOR_TEST_GAP_MS);

  for (wheel = MOTOR_LF; wheel < MOTOR_COUNT; wheel++)
  {
    MotorTest_Print("FWD_START", wheel);
    Motor_SetDuty(wheel, MOTOR_TEST_DUTY);
    HAL_Delay(MOTOR_TEST_MS);
    Motor_StopAll();
    MotorTest_Print("FWD_STOP", wheel);
    HAL_Delay(MOTOR_TEST_GAP_MS);

    MotorTest_Print("REV_START", wheel);
    Motor_SetDuty(wheel, -MOTOR_TEST_DUTY);
    HAL_Delay(MOTOR_TEST_MS);
    Motor_StopAll();
    MotorTest_Print("REV_STOP", wheel);
    HAL_Delay(MOTOR_TEST_GAP_MS);
  }

  HAL_UART_Transmit(&huart2, (uint8_t *)"MOTOR TEST END\r\n", 16U, HAL_MAX_DELAY);
}

static void MotorSweep_Run(void)
{
  MotorId wheel;
  float hold_dt;

  hold_dt = (float)MOTOR_SWEEP_HOLD_MS / 1000.0f;
  HAL_UART_Transmit(&huart2, (uint8_t *)"MOTOR SWEEP BEGIN\r\n", 19U, HAL_MAX_DELAY);
  Motor_StopAll();
  HAL_Delay(MOTOR_SWEEP_GAP_MS);

  for (wheel = MOTOR_LF; wheel < MOTOR_COUNT; wheel++)
  {
    int16_t duty;
    char buffer[96];
    int length;

    length = snprintf(buffer, sizeof(buffer), "SWEEP_WHEEL=%s\r\n", MotorTest_Name(wheel));
    if (length > 0)
    {
      HAL_UART_Transmit(&huart2, (uint8_t *)buffer, (uint16_t)length, HAL_MAX_DELAY);
    }

    for (duty = MOTOR_SWEEP_MIN_DUTY; duty <= MOTOR_SWEEP_MAX_DUTY; )
    {
      float rpm;
      int32_t rpm_x1000;

      Motor_SetDuty(wheel, duty);
      HAL_Delay(MOTOR_SWEEP_HOLD_MS);
      Encoder_Sample(hold_dt);
      rpm = Encoder_GetSpeed(wheel);
      rpm_x1000 = (int32_t)(rpm * 1000.0f);
      length = snprintf(buffer, sizeof(buffer), "SWEEP=%s,%d,%ld\r\n",
                        MotorTest_Name(wheel), (int)duty, (long)rpm_x1000);
      if (length > 0)
      {
        HAL_UART_Transmit(&huart2, (uint8_t *)buffer, (uint16_t)length, HAL_MAX_DELAY);
      }

      Motor_StopAll();
      HAL_Delay(MOTOR_SWEEP_GAP_MS);

      if (duty == MOTOR_SWEEP_MAX_DUTY)
      {
        break;
      }
      if ((MOTOR_SWEEP_MAX_DUTY - duty) <= MOTOR_SWEEP_STEP)
      {
        duty = MOTOR_SWEEP_MAX_DUTY;
      }
      else
      {
        duty = (int16_t)(duty + MOTOR_SWEEP_STEP);
      }
    }
  }

  HAL_UART_Transmit(&huart2, (uint8_t *)"MOTOR SWEEP END\r\n", 17U, HAL_MAX_DELAY);
}

static uint8_t Hall_ReadLevel(MotorId wheel)
{
  switch (wheel)
  {
    case MOTOR_LF:
      return LL_GPIO_IsInputPinSet(HALL_FL_GPIO_Port, HALL_FL_Pin) ? 1U : 0U;

    case MOTOR_RF:
      return LL_GPIO_IsInputPinSet(HALL_FR_GPIO_Port, HALL_FR_Pin) ? 1U : 0U;

    case MOTOR_LR:
      return LL_GPIO_IsInputPinSet(HALL_RL_GPIO_Port, HALL_RL_Pin) ? 1U : 0U;

    case MOTOR_RR:
      return LL_GPIO_IsInputPinSet(HALL_RR_GPIO_Port, HALL_RR_Pin) ? 1U : 0U;

    case MOTOR_COUNT:
    default:
      return 0U;
  }
}

/* USER CODE END 4 */

void Error_Handler(void)
{
  __disable_irq();
  while (1)
  {
  }
}
